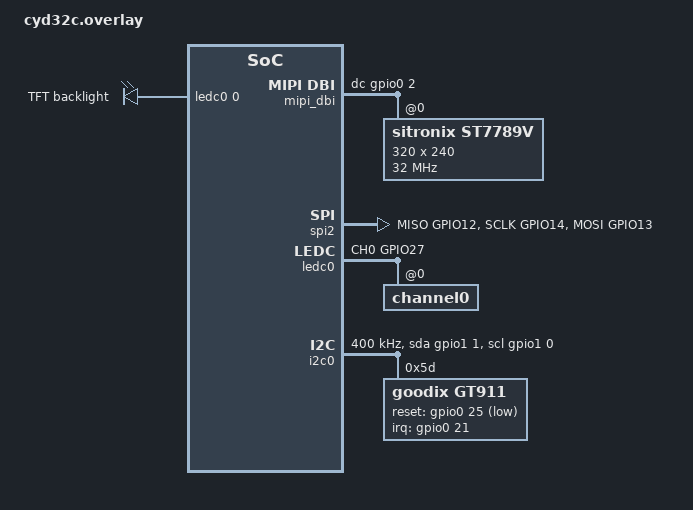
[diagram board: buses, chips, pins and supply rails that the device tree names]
/*
 * PORT: ESP32-2432S032C (3.2" CYD, ST7789 IPS + GT911 capacitive touch).
 * Derived from the ESP32-2432S028 overlay below. Differences on this board
 * (vendor schematic ESP32-2432S032 2023/2/3):
 *   - panel ST7789 (not ILI9341), TFT reset tied to EN
 *   - backlight on GPIO27 through a MOSFET (not GPIO21)
 *   - touch is a GT911 on I2C: SDA 33, SCL 32, RST 25, INT 21 (via R25)
 * Orientation: landscape, MADCTL MX|MV -- the right way up in the Blink case.
 *
 * ESP32-2432S028 "Cheap Yellow Display" (CYD).
 *
 * No upstream Zephyr board exists for this hardware, so we build against the
 * stock esp32_devkitc and describe the board's wiring here.
 *
 * Display is on SPI2/HSPI: MISO 12, MOSI 13, SCLK 14, CS 15, DC 2, backlight 21.
 * TFT reset is NOT wired to a GPIO on this board (it is tied high), so there is
 * deliberately no reset-gpios property anywhere below.
 *
 * Note the pinctrl group below omits SPIM2_CSEL_GPIO15: chip-select must be a
 * plain GPIO, not the SPI peripheral's hardware CS. The panel requires CS to be
 * held low across a command byte *and* its following data phase (DC changes in
 * between), which hardware CS cannot do -- it de-asserts after every transfer.
 */
#include <zephyr/dt-bindings/pinctrl/esp-pinctrl-common.h>
#include <dt-bindings/pinctrl/esp32-pinctrl.h>
#include <zephyr/dt-bindings/pinctrl/esp32-gpio-sigmap.h>
#include <zephyr/dt-bindings/mipi_dbi/mipi_dbi.h>
#include <zephyr/dt-bindings/pwm/pwm.h>

/ {
	chosen {
		zephyr,display = &st7789v;
	};
};

/*
 * Flash-encryption compatibility: encrypted flash writes happen in 32-byte
 * blocks, and CONFIG_ESP_FLASH_ENCRYPTION is gated on the devicetree
 * saying so. This changes the NVS on-flash format -- switching it costs
 * one re-provisioning.
 */
&flash0 {
	write-block-size = <32>;
};

/ {

	/*
	 * A SECOND WiFi instance, which becomes the soft-AP interface.
	 * Without it the driver has only one net_if: the AP broadcasts and a
	 * phone can associate, but nothing answers its DHCP request and it
	 * spins forever on "obtaining IP address". Matches Zephyr's own
	 * samples/net/wifi/apsta_mode overlay.
	 */
	wifi_ap: wifi_ap {
		compatible = "espressif,esp32-wifi";
		status = "okay";
	};

	/* Backlight on LEDC PWM channel 0 (it was a plain on/off GPIO), so
	 * night mode can dim it instead of choosing between blinding and
	 * blank. 1 kHz: far above flicker perception, low enough for the
	 * LEDC low-speed timer at full resolution. */
	pwmleds {
		compatible = "pwm-leds";
		backlight: backlight {
			pwms = <&ledc0 0 PWM_HZ(1000) PWM_POLARITY_NORMAL>;
			label = "TFT backlight";
		};
	};

	/*
	 * The panel does not drive MISO on this board -- reads return zeros, so
	 * the controller cannot be interrogated and the link is write-only.
	 */
	/*
	 * Solved against lvgl_pointer_input.c's actual transform (invert
	 * flags apply BEFORE its ROTATED_90 compensation, in the panel
	 * frame -- naive flag-flipping from on-screen symptoms therefore
	 * misleads: an invert-y here moves screen X). With the panel's
	 * swapped channel frame above, the R90 compensation supplies the
	 * un-swap, and screen-y needs the pre-rotation invert-x to cancel
	 * the compensation's own flip:
	 *   screen_x = ABS_Y                 (horizontal, 0..319)
	 *   screen_y = 240 - (240 - ABS_X)   (vertical,   0..239)
	 * Verified end-to-end with the on-screen touch marker 2026-07-14.
	 */
	/* GT911 reports in the panel's portrait frame (X 0..239 across the
	 * short edge, Y 0..319 along the long one). With MADCTL MX|MV the
	 * landscape screen is screen_x = ABS_Y, screen_y = 240 - ABS_X
	 * (from the vendor's own GT911 mapping, mirrored for this rotation). */
	lvgl_pointer {
		compatible = "zephyr,lvgl-pointer-input";
		input = <&gt911>;
		swap-xy;
		invert-y;
	};

	mipi_dbi {
		compatible = "zephyr,mipi-dbi-spi";
		dc-gpios = <&gpio0 2 GPIO_ACTIVE_HIGH>;
		spi-dev = <&spi2>;
		write-only;
		#address-cells = <1>;
		#size-cells = <0>;

		st7789v: st7789v@0 {
			compatible = "sitronix,st7789v";
			reg = <0>;
			mipi-max-frequency = <32000000>;	/* ESP32 GPIO-matrix SPI caps full-duplex at 26.7 MHz; 32 rounds to 80/3 */
			mipi-mode = "MIPI_DBI_MODE_SPI_4WIRE";
			/* Landscape after MADCTL MV. */
			width = <320>;
			height = <240>;
			x-offset = <0>;
			y-offset = <0>;
			/* MX|MV, RGB order: landscape, upright in the Blink case. */
			mdac = <0x60>;
			colmod = <0x55>;	/* RGB565 */
			vcom = <0x19>;
			gctrl = <0x35>;
			vrhs = <0x12>;
			vdvs = <0x20>;
			gamma = <0x01>;
			lcm = <0x2c>;
			porch-param = [0c 0c 00 33 33];
			cmd2en-param = [5a 69 02 01];
			pwctrl1-param = [a4 a1];
			pvgam-param = [D0 04 0D 11 13 2B 3F 54 4C 18 0D 0B 1F 23];
			nvgam-param = [D0 04 0C 11 13 2C 3F 44 51 2F 1F 1F 20 23];
			/* MSB-first RGB565, matching CONFIG_LV_COLOR_16_SWAP. */
			ram-param = [00 F0];
			rgb-param = [CD 08 14];
			/* IPS panel: inversion stays ON (driver default). */
		};

	};
};

&pinctrl {
	spim2_cyd: spim2_cyd {
		group1 {
			pinmux = <SPIM2_MISO_GPIO12>,
				 <SPIM2_SCLK_GPIO14>;
		};

		group2 {
			pinmux = <SPIM2_MOSI_GPIO13>;
			output-low;
		};
	};

	ledc0_cyd: ledc0_cyd {
		group1 {
			pinmux = <LEDC_CH0_GPIO27>;
			output-enable;
		};
	};

	/* GT911 touch on I2C0: SDA 33, SCL 32 (board has 4K7 pull-ups). */
	i2c0_cyd32: i2c0_cyd32 {
		group1 {
			pinmux = <I2C0_SDA_GPIO33>,
				 <I2C0_SCL_GPIO32>;
			bias-pull-up;
			drive-open-drain;
			output-high;
		};
	};

};

&spi2 {
	status = "okay";
	pinctrl-0 = <&spim2_cyd>;
	pinctrl-names = "default";
	/*
	 * Feed the panel by DMA instead of hand-loading the SPI FIFO. Measured
	 * on hardware 2026-07-26: a full 320x240x2 frame took 63 ms polled --
	 * 19.5 Mbit/s against a 32 MHz wire, so a third of every frame was
	 * per-transfer CPU overhead rather than clock. The flush half of an
	 * LVGL refresh measured 65-67 ms, matching that almost exactly.
	 *
	 * esp32_common.dtsi already supplies dma-clk and dma-host = <0>; this
	 * only switches the path on. The ESP32 predates GDMA, so the driver
	 * takes its own DPORT_SPI_DMA_CHAN_SEL_REG branch, not the gdma one.
	 * Note DMA caps a single transfer at 4092 bytes, so the 6144-byte VDB
	 * chunk is split in two -- more descriptors, still far less overhead.
	 */
	dma-enabled;
	cs-gpios = <&gpio0 15 GPIO_ACTIVE_LOW>;
	#address-cells = <1>;
	#size-cells = <0>;
};

&ledc0 {
	pinctrl-0 = <&ledc0_cyd>;
	pinctrl-names = "default";
	status = "okay";
	#address-cells = <1>;
	#size-cells = <0>;

	channel0@0 {
		reg = <0x0>;
		timer = <0>;
	};
};

/*
 * Touch: GT911 capacitive controller on I2C0 (GPIO matrix): SDA 33, SCL 32,
 * reset GPIO25, INT GPIO21. The driver holds INT low through reset, which
 * selects I2C address 0x5D; 0x14 is kept as the probe fallback.
 */
&i2c0 {
	status = "okay";
	clock-frequency = <I2C_BITRATE_FAST>;
	sda-gpios = <&gpio1 1 GPIO_OPEN_DRAIN>;	/* GPIO33 */
	scl-gpios = <&gpio1 0 GPIO_OPEN_DRAIN>;	/* GPIO32 */
	pinctrl-0 = <&i2c0_cyd32>;
	pinctrl-names = "default";

	gt911: gt911@5d {
		compatible = "goodix,gt911";
		reg = <0x5d>;
		alt-addr = <0x14>;
		reset-gpios = <&gpio0 25 GPIO_ACTIVE_LOW>;
		irq-gpios = <&gpio0 21 GPIO_ACTIVE_HIGH>;
	};
};

/* --- OTA: scratch partition for MCUboot swap-with-revert ---
 * The appcpu slots are dead weight on this single-image (procpu-only) build;
 * their 0xF0000 hole between slot1 and storage becomes MCUboot's scratch.
 * storage_partition does NOT move: WiFi creds, token, settings all survive.
 *
 * Under this Zephyr revision, partitions_0x1000_amp_4M.dtsi also carves
 * lpcore slot0/slot1 (0x3A0000-0x3B0000) out of that same hole -- the ESP32
 * has no LP core, this is just a shared AMP partition template -- and it
 * already defines its own scratch_partition node (0x3E0000, 124 KB, past
 * storage). All five must go: the lpcore slots so the new scratch can span
 * the *entire* hole down to storage's start, and the old scratch_partition
 * because MCUboot looks it up by devicetree node label (FIXED_PARTITION_ID),
 * not by the "label" string, so two nodes named scratch_partition would
 * collide.
 */
/delete-node/ &slot0_appcpu_partition;
/delete-node/ &slot1_appcpu_partition;
/delete-node/ &slot0_lpcore_partition;
/delete-node/ &slot1_lpcore_partition;
/delete-node/ &scratch_partition;

&flash0 {
	partitions {
		scratch_partition: partition@2c0000 {
			label = "image-scratch";
			reg = <0x2C0000 0x70000>;
		};
		/* The company boot logo (logo_parse.h). Written only by the
		 * factory (tools/burn.sh --logo), read memory-mapped at boot.
		 * Carved from the top of the scratch hole, which swap-move
		 * MCUboot never touches; slots and storage do not move, so
		 * an OTA cannot reach it and it cannot reach an OTA. */
		logo_partition: partition@330000 {
			label = "logo";
			reg = <0x330000 0x80000>;
		};
	};
};
